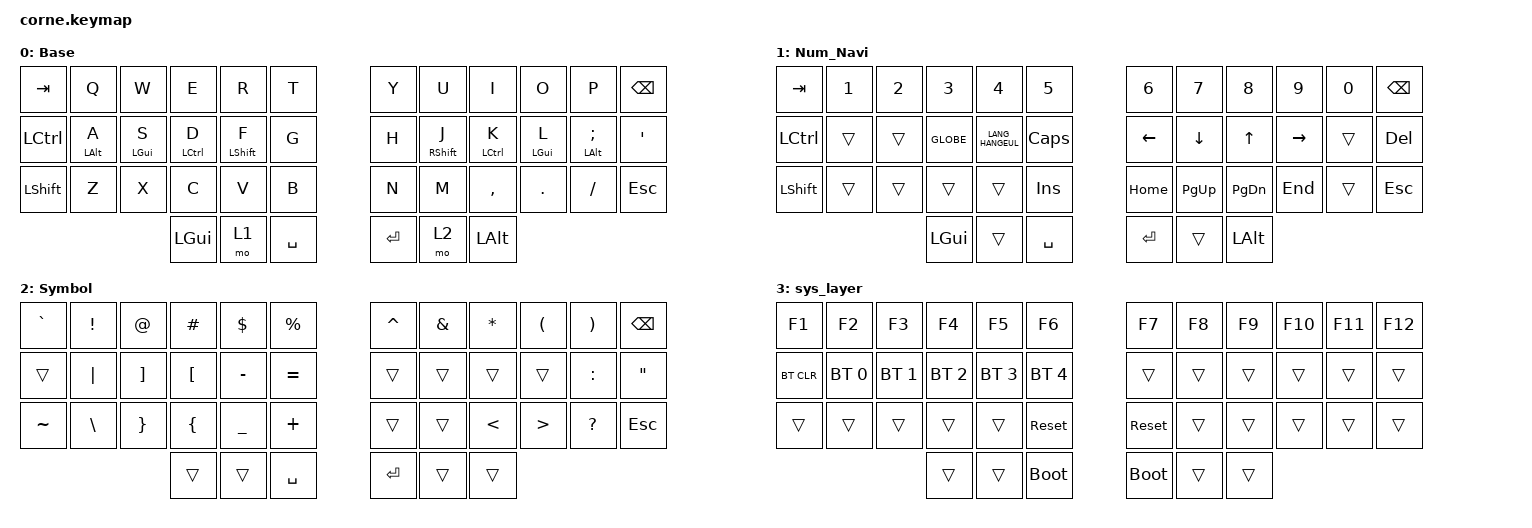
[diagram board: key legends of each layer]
/*
 * Copyright (c) 2020 The ZMK Contributors
 *
 * SPDX-License-Identifier: MIT
 */

#include <behaviors.dtsi>
#include <dt-bindings/zmk/bt.h>
#include <dt-bindings/zmk/keys.h>

/ {
    combos {
        compatible = "zmk,combos";

        cmb_grave {
            bindings = <&kp LC(GRAVE)>;
            key-positions = <25 29>;
            layers = <0>;
        };

        cmb_alt-f4 {
            bindings = <&kp LA(F4)>;
            key-positions = <1 28>;
            layers = <0>;
        };

        cmb_caps_word {
            bindings = <&caps_word>;
            key-positions = <17 18>;
            layers = <0>;
        };
    };

    behaviors {
        hml: home_row_mods_left {
            compatible = "zmk,behavior-hold-tap";
            label = "HOME_ROW_MODS_LEFT";
            bindings = <&kp>, <&kp>;

            #binding-cells = <2>;
            tapping-term-ms = <200>;
            hold-trigger-key-positions = <6 7 8 9 10 11 18 19 20 21 22 23 30 31 32 33 34 35 40 41 39>;
            flavor = "tap-preferred";
        };

        hmr: home_row_mods_right {
            compatible = "zmk,behavior-hold-tap";
            label = "HOME_ROW_MODS_RIGHT";
            bindings = <&kp>, <&kp>;

            #binding-cells = <2>;
            tapping-term-ms = <200>;
            hold-trigger-key-positions = <0 1 2 3 4 5 12 13 14 15 16 17 24 25 26 27 28 29 36 37 38>;
            flavor = "tap-preferred";
        };
    };

    keymap {
        compatible = "zmk,keymap";

        default_layer {
            // -----------------------------------------------------------------------------------------
            // |  TAB |  Q  |  W  |  E  |  R  |  T  |   |  Y  |  U   |  I  |  O  |  P  | BSPC |
            // | CTRL |  A  |  S  |  D  |  F  |  G  |   |  H  |  J   |  K  |  L  |  ;  |  '   |
            // | SHFT |  Z  |  X  |  C  |  V  |  B  |   |  N  |  M   |  ,  |  .  |  /  | ESC  |
            //                    | GUI | LWR | SPC |   | ENT | RSE  | ALT |

            bindings = <
&kp TAB     &kp Q        &kp W        &kp E         &kp R          &kp T        &kp Y      &kp U         &kp I         &kp O        &kp P                &kp BSPC
&kp LCTRL   &hml LALT A  &hml LGUI S  &hml LCTRL D  &hml LSHIFT F  &kp G        &kp H      &hmr RSHFT J  &hmr LCTRL K  &hmr LGUI L  &hmr LALT SEMICOLON  &kp SQT
&kp LSHIFT  &kp Z        &kp X        &kp C         &kp V          &kp B        &kp N      &kp M         &kp COMMA     &kp DOT      &kp FSLH             &kp ESC
                                      &kp LGUI      &mo 1          &kp SPACE    &kp ENTER  &mo 2         &kp LALT
            >;

            label = "Base";
        };

        lower_layer {
            // -----------------------------------------------------------------------------------------
            // |  TAB |  1  |  2  |  3  |  4  |  5  |   |  6  |  7  |  8  |  9  |  0  | BSPC |
            // | BTCLR| BT1 | BT2 | BT3 | BT4 | BT5 |   | LFT | DWN |  UP | RGT |     |      |
            // | SHFT |     |     |     |     |     |   |     |     |     |     |     |      |
            //                    | GUI |     | SPC |   | ENT |     | ALT |

            bindings = <
&kp TAB    &kp N1  &kp N2  &kp N3     &kp N4            &kp N5        &kp N6     &kp N7       &kp N8         &kp N9     &kp N0  &kp BSPC
&kp LCTRL  &trans  &trans  &kp GLOBE  &kp LANG_HANGEUL  &kp CAPS      &kp LEFT   &kp DOWN     &kp UP         &kp RIGHT  &trans  &kp DEL
&kp LSHFT  &trans  &trans  &trans     &trans            &kp INSERT    &kp HOME   &kp PAGE_UP  &kp PAGE_DOWN  &kp END    &trans  &kp ESC
                           &kp LGUI   &trans            &kp SPACE     &kp ENTER  &trans       &kp LALT
            >;

            label = "Num_Navi";
        };

        raise_layer {
            // -----------------------------------------------------------------------------------------
            // |  TAB |  !  |  @  |  #  |  $  |  %  |   |  ^  |  &  |  *  |  (  |  )  | BSPC |
            // | CTRL |     |     |     |     |     |   |  -  |  =  |  [  |  ]  |  \  |  `   |
            // | SHFT |     |     |     |     |     |   |  _  |  +  |  {  |  }  | "|" |  ~   |
            //                    | GUI |     | SPC |   | ENT |     | ALT |

            bindings = <
&kp GRAVE  &kp EXCL  &kp AT           &kp HASH        &kp DOLLAR  &kp PERCENT    &kp CARET  &kp AMPERSAND  &kp ASTRK      &kp LEFT_PARENTHESIS  &kp RIGHT_PARENTHESIS  &kp BSPC
&trans     &kp PIPE  &kp RBKT         &kp LBKT        &kp MINUS   &kp EQUAL      &trans     &trans         &trans         &trans                &kp COLON              &kp DOUBLE_QUOTES
&kp TILDE  &kp BSLH  &kp RIGHT_BRACE  &kp LEFT_BRACE  &kp UNDER   &kp PLUS       &trans     &trans         &kp LESS_THAN  &kp GREATER_THAN      &kp QUESTION           &kp ESC
                                      &trans          &trans      &kp SPACE      &kp ENTER  &trans         &trans
            >;

            label = "Symbol";
        };

        sys_layer {
            bindings = <
&kp F1      &kp F2        &kp F3        &kp F4        &kp F5        &kp F6          &kp F7       &kp F8  &kp F9  &kp F10  &kp F11  &kp F12
&bt BT_CLR  &bt BT_SEL 0  &bt BT_SEL 1  &bt BT_SEL 2  &bt BT_SEL 3  &bt BT_SEL 4    &trans       &trans  &trans  &trans   &trans   &trans
&trans      &trans        &trans        &trans        &trans        &sys_reset      &sys_reset   &trans  &trans  &trans   &trans   &trans
                                        &trans        &trans        &bootloader     &bootloader  &trans  &trans
            >;
        };
    };

    conditional_layers {
        compatible = "zmk,conditional-layers";

        tri_layer {
            if-layers = <1 2>;
            then-layer = <3>;
        };
    };
};
